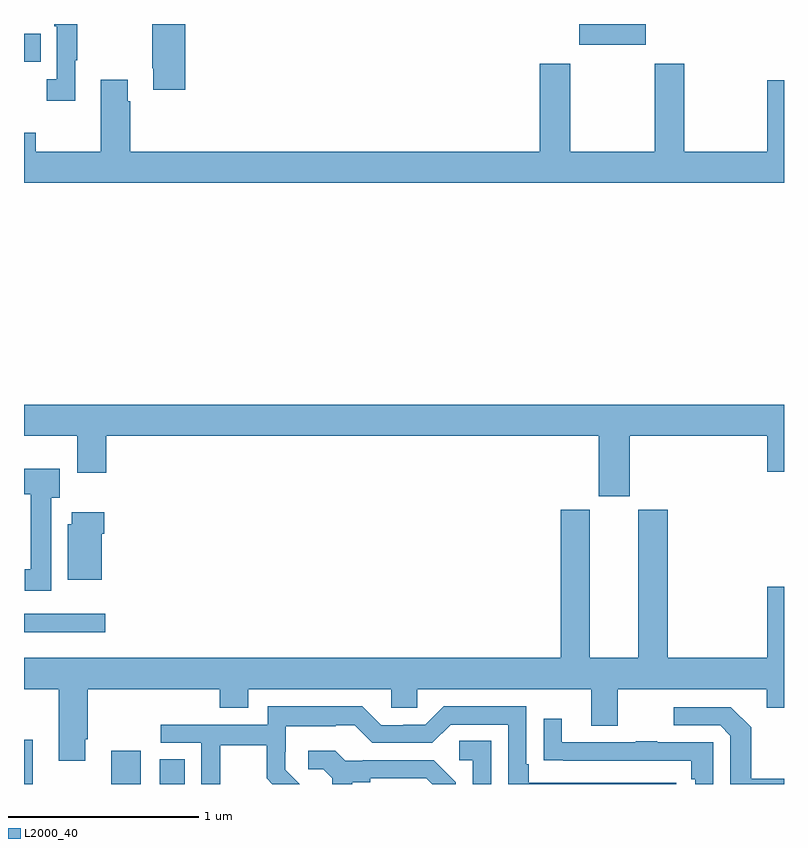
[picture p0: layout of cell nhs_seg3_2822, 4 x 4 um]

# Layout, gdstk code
import gdstk
lib = gdstk.Library(unit=1e-6, precision=1e-09)
def R(c, l, rs):  # rectangles x0, y0, x1, y1
    for r in rs: c.add(gdstk.rectangle(r[:2], r[2:], *l))
def P(c, l, *ps):  # polygons
    for p in ps: c.add(gdstk.Polygon(p, *l))
L2000_40 = (2000, 40)

nhs_seg3_2822 = lib.new_cell('nhs_seg3_2822')
R(nhs_seg3_2822, L2000_40, [(257,716.4,257.046,716.632), (257.459,716.4,257.614,716.575), (257.714,716.4,257.845,716.531), (257,717.2,257.428,717.297), (257,720.202,257.087,720.349), (259.922,720.29,260.272,720.4)])
P(nhs_seg3_2822, L2000_40, [(257.269,720.209),(257.281,720.209),(257.281,720.4),(257.16,720.4),(257.16,720.389),(257.172,720.389),(257.172,720.11),(257.121,720.11),(257.121,719.997),(257.269,719.997)],
  [(257.849,720.4),(257.674,720.4),(257.674,720.166),(257.681,720.166),(257.681,720.054),(257.849,720.054)],
  [(261,720.103),(260.912,720.103),(260.912,719.728),(260.475,719.728),(260.475,720.19),(260.32,720.19),(260.32,719.728),(259.875,719.728),(259.875,720.19),(259.715,720.19),(259.715,719.728),(257.558,719.728),(257.558,719.993),(257.545,719.993),(257.545,720.106),(257.405,720.106),(257.405,719.728),(257.061,719.728),(257.061,719.827),(257,719.827),(257,719.564),(261,719.564)],
  [(260.188,718.232),(260.912,718.232),(260.912,718.044),(261,718.044),(261,718.396),(257,718.396),(257,718.232),(257.279,718.232),(257.279,718.038),(257.432,718.038),(257.432,718.232),(260.024,718.232),(260.024,717.915),(260.188,717.915)],
  [(257.143,717.906),(257.188,717.906),(257.188,718.06),(257,718.06),(257,717.926),(257.036,717.926),(257.036,717.53),(257.003,717.53),(257.003,717.417),(257.143,717.417)],
  [(257.323,716.635),(257.336,716.635),(257.336,716.9),(258.029,716.9),(258.029,716.801),(258.181,716.801),(258.181,716.9),(258.933,716.9),(258.933,716.802),(259.071,716.802),(259.071,716.9),(259.985,716.9),(259.985,716.706),(260.125,716.706),(260.125,716.9),(260.909,716.9),(260.909,716.801),(261,716.801),(261,717.439),(260.912,717.439),(260.912,717.064),(260.387,717.064),(260.387,717.843),(260.234,717.843),(260.234,717.064),(259.978,717.064),(259.978,717.843),(259.826,717.843),(259.826,717.064),(257,717.064),(257,716.9),(257.183,716.9),(257.183,716.523),(257.323,716.523)],
  [(257.41,717.716),(257.423,717.716),(257.423,717.829),(257.252,717.829),(257.252,717.768),(257.231,717.768),(257.231,717.476),(257.41,717.476)],
  [(258.033,716.604),(258.277,716.604),(258.277,716.429),(258.306,716.4),(258.45,716.4),(258.376,716.474),(258.376,716.571),(258.378,716.571),(258.378,716.705),(258.641,716.705),(258.641,716.709),(258.741,716.709),(258.834,716.616),(259.149,716.616),(259.245,716.712),(259.548,716.712),(259.548,716.4),(260.434,716.4),(260.434,716.406),(259.657,716.406),(259.657,716.503),(259.644,716.503),(259.644,716.808),(259.209,716.808),(259.113,716.712),(258.995,716.712),(258.995,716.709),(258.879,716.709),(258.779,716.809),(258.282,716.809),(258.282,716.712),(257.721,716.712),(257.721,716.616),(257.934,716.616),(257.934,716.4),(258.033,716.4)],
  [(261,716.427),(260.827,716.427),(260.827,716.699),(260.721,716.805),(260.421,716.805),(260.421,716.709),(260.664,716.709),(260.718,716.655),(260.718,716.4),(261,716.4)],
  [(260.628,716.619),(260.333,716.619),(260.333,716.624),(260.221,716.624),(260.221,716.619),(259.831,716.619),(259.831,716.743),(259.735,716.743),(259.735,716.524),(259.837,716.524),(259.837,716.523),(260.512,716.523),(260.512,716.426),(260.532,716.426),(260.532,716.4),(260.628,716.4)],
  [(259.458,716.627),(259.29,716.627),(259.29,716.526),(259.362,716.526),(259.362,716.4),(259.458,716.4)],
  [(258.727,716.408),(258.823,716.408),(258.823,716.43),(259.118,716.43),(259.148,716.4),(259.272,716.4),(259.272,716.41),(259.156,716.526),(258.784,716.526),(258.784,716.523),(258.69,716.523),(258.638,716.575),(258.495,716.575),(258.495,716.478),(258.576,716.478),(258.623,716.431),(258.623,716.4),(258.727,716.4)])

lib.write_gds('nhs_seg3_2822.gds')
